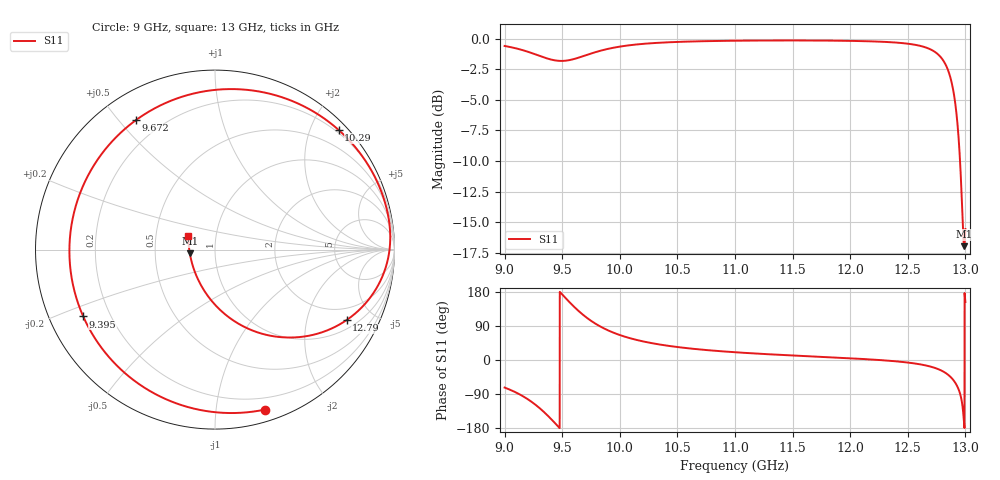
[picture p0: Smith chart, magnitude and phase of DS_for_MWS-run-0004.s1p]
! TOUCHSTONE file generated by CST DESIGN STUDIO
! Date and time: Tue Feb  4 17:13:54 2025
! Project name: C:\Work\MatlabApps\UnitCellOptimizationMatlab\CST\unitcell.cst
! Tree item: Tasks\Sweep1\SPara1\S-Parameters
! Header version: 2024
! Port assignment regex: !\s*Touchstone port\s*([0-9]+)\s*=\s*(CST MWS port|CST DES external port|CST DES block port)\s*(.+)\s* \(\"(.*)\"\)(\s*mode\s*([0-9]+))?.*
! Touchstone port assignment:
! Touchstone port 1 = CST DES external port 1 ("")
# GHz S MA R 50
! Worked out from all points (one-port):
!   4001 points, 9 GHz to 13 GHz, reference 50 ohm
!   lowest |S11| = -17.0 dB at 12.99 GHz (marker M1), VSWR 1.33, Z = 37.7 - j1.58 ohm
!   |S11| at or under -10 dB: 12.95352 GHz to end of sweep
!   S11 on the Smith chart (normalised r, x): 9 GHz: 0.10, -1.35; 9.395 GHz: 0.10, -0.24; 9.672 GHz: 0.11, +0.55; 10.29 GHz: 0.15, +2.46; 12.79 GHz: 1.37, -3.48; 13 GHz: 0.73, +0.11
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9  0.9336 -72.8
9.127  0.9057 -90.1
9.224  0.877 -108.2
9.31  0.8483 -128.7
9.395  0.8233 -153.1
9.449  0.8136 -170.3
9.5  0.811 173.0
9.576  0.8196 148.6
9.672  0.8451 121.5
9.737  0.8653 106.2
9.808  0.8862 92.3
9.903  0.9096 77.5
10  0.9278 65.9
10.131  0.9453 54.1
10.285  0.9586 44.1
10.5  0.9697 34.2
11  0.9807 20.5
11.5  0.9832 11.9
12  0.9794 4.5
12.5  0.9537 -6.7
12.681  0.9111 -16.1
12.794  0.8314 -28.2
12.857  0.7261 -40.8
12.913  0.5396 -60.5
12.949  0.3445 -84.1
12.975  0.1855 -122.1
12.99  0.1418 -171.7
13  0.1667 152.9
